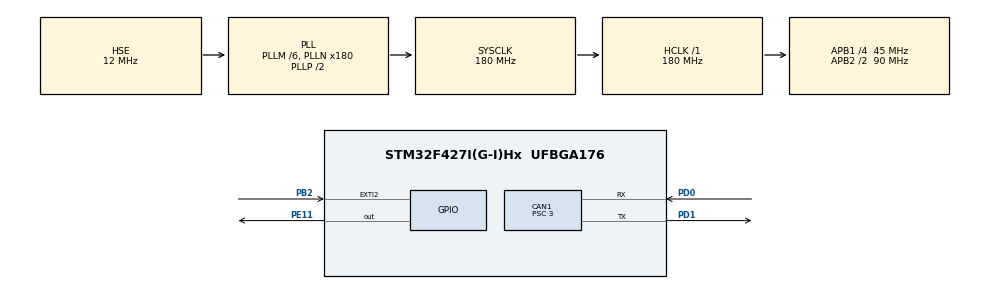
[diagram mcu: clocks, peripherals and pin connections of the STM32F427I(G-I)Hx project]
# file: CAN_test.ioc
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CAN1.BS1=CAN_BS1_10TQ
CAN1.BS2=CAN_BS2_4TQ
CAN1.CalculateBaudRate=1000000
CAN1.CalculateTimeBit=1000
CAN1.CalculateTimeQuantum=66.66666666666666
CAN1.Prescaler=3
Mcu.Family=STM32F4
Mcu.Name=STM32F427I(G-I)Hx
Mcu.Package=UFBGA176
NVIC.CAN1_RX0_IRQn=true\:0\:0\:false\:false\:true\:true\:true\:true
NVIC.EXTI2_IRQn=true\:0\:0\:false\:false\:true\:true\:true\:true
NVIC.PriorityGroup=NVIC_PRIORITYGROUP_4
NVIC.TIM6_DAC_IRQn=true\:0\:0\:false\:false\:true\:true\:true\:true
PA13.Mode=Serial_Wire
PA13.Signal=SYS_JTMS-SWDIO
PA14.Mode=Serial_Wire
PA14.Signal=SYS_JTCK-SWCLK
PB2/BOOT1.GPIO_ModeDefaultEXTI=GPIO_MODE_IT_RISING
PB2/BOOT1.GPIO_PuPd=GPIO_PULLDOWN
PB2/BOOT1.Signal=GPXTI2
PD0.Mode=CAN_Activate
PD0.Signal=CAN1_RX
PD1.Mode=CAN_Activate
PD1.Signal=CAN1_TX
PE11.PinState=GPIO_PIN_SET
PE11.Signal=GPIO_Output
PH0/OSC_IN.Mode=HSE-External-Oscillator
PH0/OSC_IN.Signal=RCC_OSC_IN
PH1/OSC_OUT.Mode=HSE-External-Oscillator
PH1/OSC_OUT.Signal=RCC_OSC_OUT
ProjectManager.HeapSize=0x200
ProjectManager.StackSize=0x400
ProjectManager.TargetToolchain=CMake
RCC.48MHZClocksFreq_Value=90000000
RCC.AHBFreq_Value=180000000
RCC.APB1CLKDivider=RCC_HCLK_DIV4
RCC.APB1Freq_Value=45000000
RCC.APB1TimFreq_Value=90000000
RCC.APB2CLKDivider=RCC_HCLK_DIV2
RCC.APB2Freq_Value=90000000
RCC.APB2TimFreq_Value=180000000
RCC.CortexFreq_Value=180000000
RCC.HCLKFreq_Value=180000000
RCC.HSE_VALUE=12000000
RCC.HSI_VALUE=16000000
RCC.LSE_VALUE=32768
RCC.PLLM=6
RCC.PLLN=180
RCC.PLLSourceVirtual=RCC_PLLSOURCE_HSE
RCC.SYSCLKFreq_VALUE=180000000
RCC.SYSCLKSource=RCC_SYSCLKSOURCE_PLLCLK
RCC.VCOOutputFreq_Value=360000000
TIM6.Period=100-1
TIM6.Prescaler=1000-1
VP_TIM6_VS_ClockSourceINT.Mode=Enable_Timer
board=custom

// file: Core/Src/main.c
/* USER CODE BEGIN Header */
/**
  ******************************************************************************
  * @file           : main.c
  * @brief          : Main program body
  ******************************************************************************
  * @attention
  *
  * Copyright (c) 2025 STMicroelectronics.
  * All rights reserved.
  *
  * This software is licensed under terms that can be found in the LICENSE file
  * in the root directory of this software component.
  * If no LICENSE file comes with this software, it is provided AS-IS.
  *
  ******************************************************************************
  */
/* USER CODE END Header */
#include "main.h"
#include "can.h"
#include "tim.h"
#include "gpio.h"

/* USER CODE BEGIN PV */
CAN_TxHeaderTypeDef tx_header = { .StdId = 0x200,
                                  .ExtId = 0,
                                  .IDE = CAN_ID_STD,
                                  .RTR = CAN_RTR_DATA,
                                  .DLC = 8,
                                  .TransmitGlobalTime = DISABLE };
CAN_FilterTypeDef filter_config = { .FilterIdHigh = 0x0000,
                                    .FilterIdLow = 0x0000,
                                    .FilterMaskIdHigh = 0X0000,
                                    .FilterMaskIdLow = 0X0000,
                                    .FilterFIFOAssignment = CAN_FILTER_FIFO0,
                                    .FilterBank = 0,
                                    .FilterMode = CAN_FILTERMODE_IDMASK,
                                    .FilterScale = CAN_FILTERSCALE_32BIT,
                                    .FilterActivation = ENABLE };

uint8_t stop_flag = 0;
/* USER CODE END PV */

void SystemClock_Config(void);

int main(void)
{

  /* MCU Configuration--------------------------------------------------------*/

  /* Reset of all peripherals, Initializes the Flash interface and the Systick. */
  HAL_Init();

  /* Configure the system clock */
  SystemClock_Config();

  /* Initialize all configured peripherals */
  MX_GPIO_Init();
  MX_CAN1_Init();
  MX_TIM6_Init();
  /* USER CODE BEGIN 2 */
    HAL_CAN_ConfigFilter(&hcan1, &filter_config);

    HAL_CAN_Start(&hcan1);
    HAL_CAN_ActivateNotification(&hcan1, CAN_IT_RX_FIFO0_MSG_PENDING);

    HAL_TIM_Base_Start_IT(&htim6);
  /* USER CODE END 2 */

  /* Infinite loop */
    while (1) {

    }
}

void SystemClock_Config(void)
{
  RCC_OscInitTypeDef RCC_OscInitStruct = {0};
  RCC_ClkInitTypeDef RCC_ClkInitStruct = {0};

  /** Configure the main internal regulator output voltage
  */
  __HAL_RCC_PWR_CLK_ENABLE();
  __HAL_PWR_VOLTAGESCALING_CONFIG(PWR_REGULATOR_VOLTAGE_SCALE1);

  /** Initializes the RCC Oscillators according to the specified parameters
  * in the RCC_OscInitTypeDef structure.
  */
  RCC_OscInitStruct.OscillatorType = RCC_OSCILLATORTYPE_HSE;
  RCC_OscInitStruct.HSEState = RCC_HSE_ON;
  RCC_OscInitStruct.PLL.PLLState = RCC_PLL_ON;
  RCC_OscInitStruct.PLL.PLLSource = RCC_PLLSOURCE_HSE;
  RCC_OscInitStruct.PLL.PLLM = 6;
  RCC_OscInitStruct.PLL.PLLN = 180;
  RCC_OscInitStruct.PLL.PLLP = RCC_PLLP_DIV2;
  RCC_OscInitStruct.PLL.PLLQ = 4;
  if (HAL_RCC_OscConfig(&RCC_OscInitStruct) != HAL_OK)
  {
    Error_Handler();
  }

  /** Activate the Over-Drive mode
  */
  if (HAL_PWREx_EnableOverDrive() != HAL_OK)
  {
    Error_Handler();
  }

  /** Initializes the CPU, AHB and APB buses clocks
  */
  RCC_ClkInitStruct.ClockType = RCC_CLOCKTYPE_HCLK|RCC_CLOCKTYPE_SYSCLK
                              |RCC_CLOCKTYPE_PCLK1|RCC_CLOCKTYPE_PCLK2;
  RCC_ClkInitStruct.SYSCLKSource = RCC_SYSCLKSOURCE_PLLCLK;
  RCC_ClkInitStruct.AHBCLKDivider = RCC_SYSCLK_DIV1;
  RCC_ClkInitStruct.APB1CLKDivider = RCC_HCLK_DIV4;
  RCC_ClkInitStruct.APB2CLKDivider = RCC_HCLK_DIV2;

  if (HAL_RCC_ClockConfig(&RCC_ClkInitStruct, FLASH_LATENCY_5) != HAL_OK)
  {
    Error_Handler();
  }
}

void Error_Handler(void)
{
    __disable_irq();
    while (1) {
    }
}
